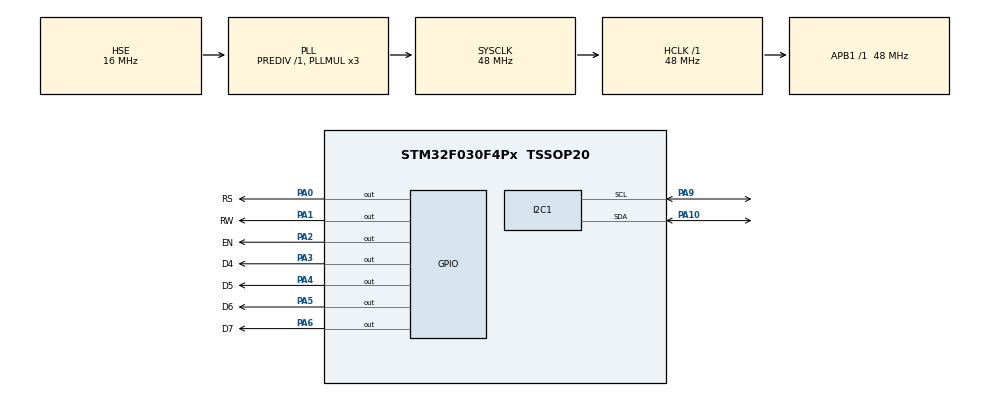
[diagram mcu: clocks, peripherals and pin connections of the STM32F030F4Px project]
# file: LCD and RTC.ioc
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Mcu.Family=STM32F0
Mcu.Name=STM32F030F4Px
Mcu.Package=TSSOP20
PA0.GPIO_Label=RS
PA0.Signal=GPIO_Output
PA1.GPIO_Label=RW
PA1.Signal=GPIO_Output
PA10.Mode=I2C
PA10.Signal=I2C1_SDA
PA2.GPIO_Label=EN
PA2.Signal=GPIO_Output
PA3.GPIO_Label=D4
PA3.Signal=GPIO_Output
PA4.GPIO_Label=D5
PA4.Signal=GPIO_Output
PA5.GPIO_Label=D6
PA5.Signal=GPIO_Output
PA6.GPIO_Label=D7
PA6.Signal=GPIO_Output
PA9.Mode=I2C
PA9.Signal=I2C1_SCL
PF0-OSC_IN.Mode=HSE-External-Oscillator
PF0-OSC_IN.Signal=RCC_OSC_IN
PF1-OSC_OUT.Mode=HSE-External-Oscillator
PF1-OSC_OUT.Signal=RCC_OSC_OUT
ProjectManager.HeapSize=0x200
ProjectManager.StackSize=0x400
ProjectManager.TargetToolchain=STM32CubeIDE
RCC.AHBFreq_Value=48000000
RCC.APB1Freq_Value=48000000
RCC.APB1TimFreq_Value=48000000
RCC.HCLKFreq_Value=48000000
RCC.HSE_VALUE=16000000
RCC.PLLMUL=RCC_PLL_MUL3
RCC.PLLSourceVirtual=RCC_PLLSOURCE_HSE
RCC.SYSCLKFreq_VALUE=48000000
RCC.SYSCLKSource=RCC_SYSCLKSOURCE_PLLCLK
TIM1.Prescaler=48-1
VP_TIM1_VS_ClockSourceINT.Mode=Internal
board=custom

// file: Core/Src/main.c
/* USER CODE BEGIN Header */
/**
  ******************************************************************************
  * @file           : main.c
  * @brief          : Main program body
  ******************************************************************************
  * @attention
  *
  * Copyright (c) 2024 STMicroelectronics.
  * All rights reserved.
  *
  * This software is licensed under terms that can be found in the LICENSE file
  * in the root directory of this software component.
  * If no LICENSE file comes with this software, it is provided AS-IS.
  *
  ******************************************************************************
  */
/* USER CODE END Header */
#include "main.h"

/* USER CODE BEGIN Includes */
#include "LCD1602.h"
#include "DS321RTC.h"
/* USER CODE END Includes */

I2C_HandleTypeDef hi2c1;

TIM_HandleTypeDef htim1;

void SystemClock_Config(void);
static void MX_GPIO_Init(void);
static void MX_I2C1_Init(void);
static void MX_TIM1_Init(void);

/* USER CODE BEGIN 0 */

void Print(int32_t num) {
  char string[4]; // Allocate space for sign (if needed) and null terminator
  string[0] = ( (num/10) % 10) + 48;           // 2digit number print so 1st init we divide 10 mean '1 and 0 ' 2digit than modules 10 +  add ascii value 48 which means ascii character '0'
  string[1] = ( num % 10) + 48;                // 1digit number print so 1st init we divide 10 mean '1 and  ' 1digit than modules 10 +  add ascii value 48 which means ascii character '0'
  string[2] = 0;
  LCD_String(string); // Send the formatted string to your LCD display function

  LCD_String(" ");
}
/* USER CODE END 0 */

int main(void)
{

  /* MCU Configuration--------------------------------------------------------*/

  /* Reset of all peripherals, Initializes the Flash interface and the Systick. */
  HAL_Init();

  /* Configure the system clock */
  SystemClock_Config();

  /* Initialize all configured peripherals */
  MX_GPIO_Init();
  MX_I2C1_Init();
  MX_TIM1_Init();
  /* USER CODE BEGIN 2 */
  HAL_TIM_Base_Start(&htim1);  // Timer On and init this line
  lcd_init();                //LCD init
  Set_Time(00,30,2,1,4,5,24); //uint8_t sec, uint8_t min, uint8_t hour, uint8_t dow, uint8_t dom, uint8_t month, uint8_t year
  lcd_xy(0, 0);
  LCD_String("Time :");

  lcd_xy(1, 0);
  LCD_String("Date :");

  /* USER CODE END 2 */

  /* Infinite loop */
  while (1)
  {

    /* USER CODE BEGIN 3 */
	  Get_Time ();
	  lcd_xy(0, 7);
	  Print(time.hour);
	  lcd_xy(0, 9);
	  LCD_String(":");
	  Print(time.minutes);
	  lcd_xy(0, 12);
	  LCD_String(":");
	  Print(time.seconds);

	  lcd_xy(1, 7);
	  Print(time.dayofmonth);
	  lcd_xy(1, 9);
	  LCD_String("-");
	  Print(time.month);
	  lcd_xy(1, 12);
	  LCD_String("-");
	  Print(time.year);
  }
  /* USER CODE END 3 */
}

void SystemClock_Config(void)
{
  RCC_OscInitTypeDef RCC_OscInitStruct = {0};
  RCC_ClkInitTypeDef RCC_ClkInitStruct = {0};
  RCC_PeriphCLKInitTypeDef PeriphClkInit = {0};

  /** Initializes the RCC Oscillators according to the specified parameters
  * in the RCC_OscInitTypeDef structure.
  */
  RCC_OscInitStruct.OscillatorType = RCC_OSCILLATORTYPE_HSI|RCC_OSCILLATORTYPE_HSE;
  RCC_OscInitStruct.HSEState = RCC_HSE_ON;
  RCC_OscInitStruct.HSIState = RCC_HSI_ON;
  RCC_OscInitStruct.HSICalibrationValue = RCC_HSICALIBRATION_DEFAULT;
  RCC_OscInitStruct.PLL.PLLState = RCC_PLL_ON;
  RCC_OscInitStruct.PLL.PLLSource = RCC_PLLSOURCE_HSE;
  RCC_OscInitStruct.PLL.PLLMUL = RCC_PLL_MUL3;
  RCC_OscInitStruct.PLL.PREDIV = RCC_PREDIV_DIV1;
  if (HAL_RCC_OscConfig(&RCC_OscInitStruct) != HAL_OK)
  {
    Error_Handler();
  }

  /** Initializes the CPU, AHB and APB buses clocks
  */
  RCC_ClkInitStruct.ClockType = RCC_CLOCKTYPE_HCLK|RCC_CLOCKTYPE_SYSCLK
                              |RCC_CLOCKTYPE_PCLK1;
  RCC_ClkInitStruct.SYSCLKSource = RCC_SYSCLKSOURCE_PLLCLK;
  RCC_ClkInitStruct.AHBCLKDivider = RCC_SYSCLK_DIV1;
  RCC_ClkInitStruct.APB1CLKDivider = RCC_HCLK_DIV1;

  if (HAL_RCC_ClockConfig(&RCC_ClkInitStruct, FLASH_LATENCY_1) != HAL_OK)
  {
    Error_Handler();
  }
  PeriphClkInit.PeriphClockSelection = RCC_PERIPHCLK_I2C1;
  PeriphClkInit.I2c1ClockSelection = RCC_I2C1CLKSOURCE_HSI;
  if (HAL_RCCEx_PeriphCLKConfig(&PeriphClkInit) != HAL_OK)
  {
    Error_Handler();
  }
}

static void MX_I2C1_Init(void)
{

  hi2c1.Instance = I2C1;
  hi2c1.Init.Timing = 0x2000090E;
  hi2c1.Init.OwnAddress1 = 0;
  hi2c1.Init.AddressingMode = I2C_ADDRESSINGMODE_7BIT;
  hi2c1.Init.DualAddressMode = I2C_DUALADDRESS_DISABLE;
  hi2c1.Init.OwnAddress2 = 0;
  hi2c1.Init.OwnAddress2Masks = I2C_OA2_NOMASK;
  hi2c1.Init.GeneralCallMode = I2C_GENERALCALL_DISABLE;
  hi2c1.Init.NoStretchMode = I2C_NOSTRETCH_DISABLE;
  if (HAL_I2C_Init(&hi2c1) != HAL_OK)
  {
    Error_Handler();
  }

  /** Configure Analogue filter
  */
  if (HAL_I2CEx_ConfigAnalogFilter(&hi2c1, I2C_ANALOGFILTER_ENABLE) != HAL_OK)
  {
    Error_Handler();
  }

  /** Configure Digital filter
  */
  if (HAL_I2CEx_ConfigDigitalFilter(&hi2c1, 0) != HAL_OK)
  {
    Error_Handler();
  }

}

static void MX_TIM1_Init(void)
{

  TIM_ClockConfigTypeDef sClockSourceConfig = {0};
  TIM_MasterConfigTypeDef sMasterConfig = {0};

  htim1.Instance = TIM1;
  htim1.Init.Prescaler = 48-1;
  htim1.Init.CounterMode = TIM_COUNTERMODE_UP;
  htim1.Init.Period = 65535;
  htim1.Init.ClockDivision = TIM_CLOCKDIVISION_DIV1;
  htim1.Init.RepetitionCounter = 0;
  htim1.Init.AutoReloadPreload = TIM_AUTORELOAD_PRELOAD_DISABLE;
  if (HAL_TIM_Base_Init(&htim1) != HAL_OK)
  {
    Error_Handler();
  }
  sClockSourceConfig.ClockSource = TIM_CLOCKSOURCE_INTERNAL;
  if (HAL_TIM_ConfigClockSource(&htim1, &sClockSourceConfig) != HAL_OK)
  {
    Error_Handler();
  }
  sMasterConfig.MasterOutputTrigger = TIM_TRGO_RESET;
  sMasterConfig.MasterSlaveMode = TIM_MASTERSLAVEMODE_DISABLE;
  if (HAL_TIMEx_MasterConfigSynchronization(&htim1, &sMasterConfig) != HAL_OK)
  {
    Error_Handler();
  }

}

static void MX_GPIO_Init(void)
{
  GPIO_InitTypeDef GPIO_InitStruct = {0};

  /* GPIO Ports Clock Enable */
  __HAL_RCC_GPIOF_CLK_ENABLE();
  __HAL_RCC_GPIOA_CLK_ENABLE();

  /*Configure GPIO pin Output Level */
  HAL_GPIO_WritePin(GPIOA, RS_Pin|RW_Pin|EN_Pin|D4_Pin
                          |D5_Pin|D6_Pin|D7_Pin, GPIO_PIN_RESET);

  /*Configure GPIO pins : RS_Pin RW_Pin EN_Pin D4_Pin
                           D5_Pin D6_Pin D7_Pin */
  GPIO_InitStruct.Pin = RS_Pin|RW_Pin|EN_Pin|D4_Pin
                          |D5_Pin|D6_Pin|D7_Pin;
  GPIO_InitStruct.Mode = GPIO_MODE_OUTPUT_PP;
  GPIO_InitStruct.Pull = GPIO_NOPULL;
  GPIO_InitStruct.Speed = GPIO_SPEED_FREQ_LOW;
  HAL_GPIO_Init(GPIOA, &GPIO_InitStruct);

}

void Error_Handler(void)
{
  __disable_irq();
  while (1)
  {
  }
}
